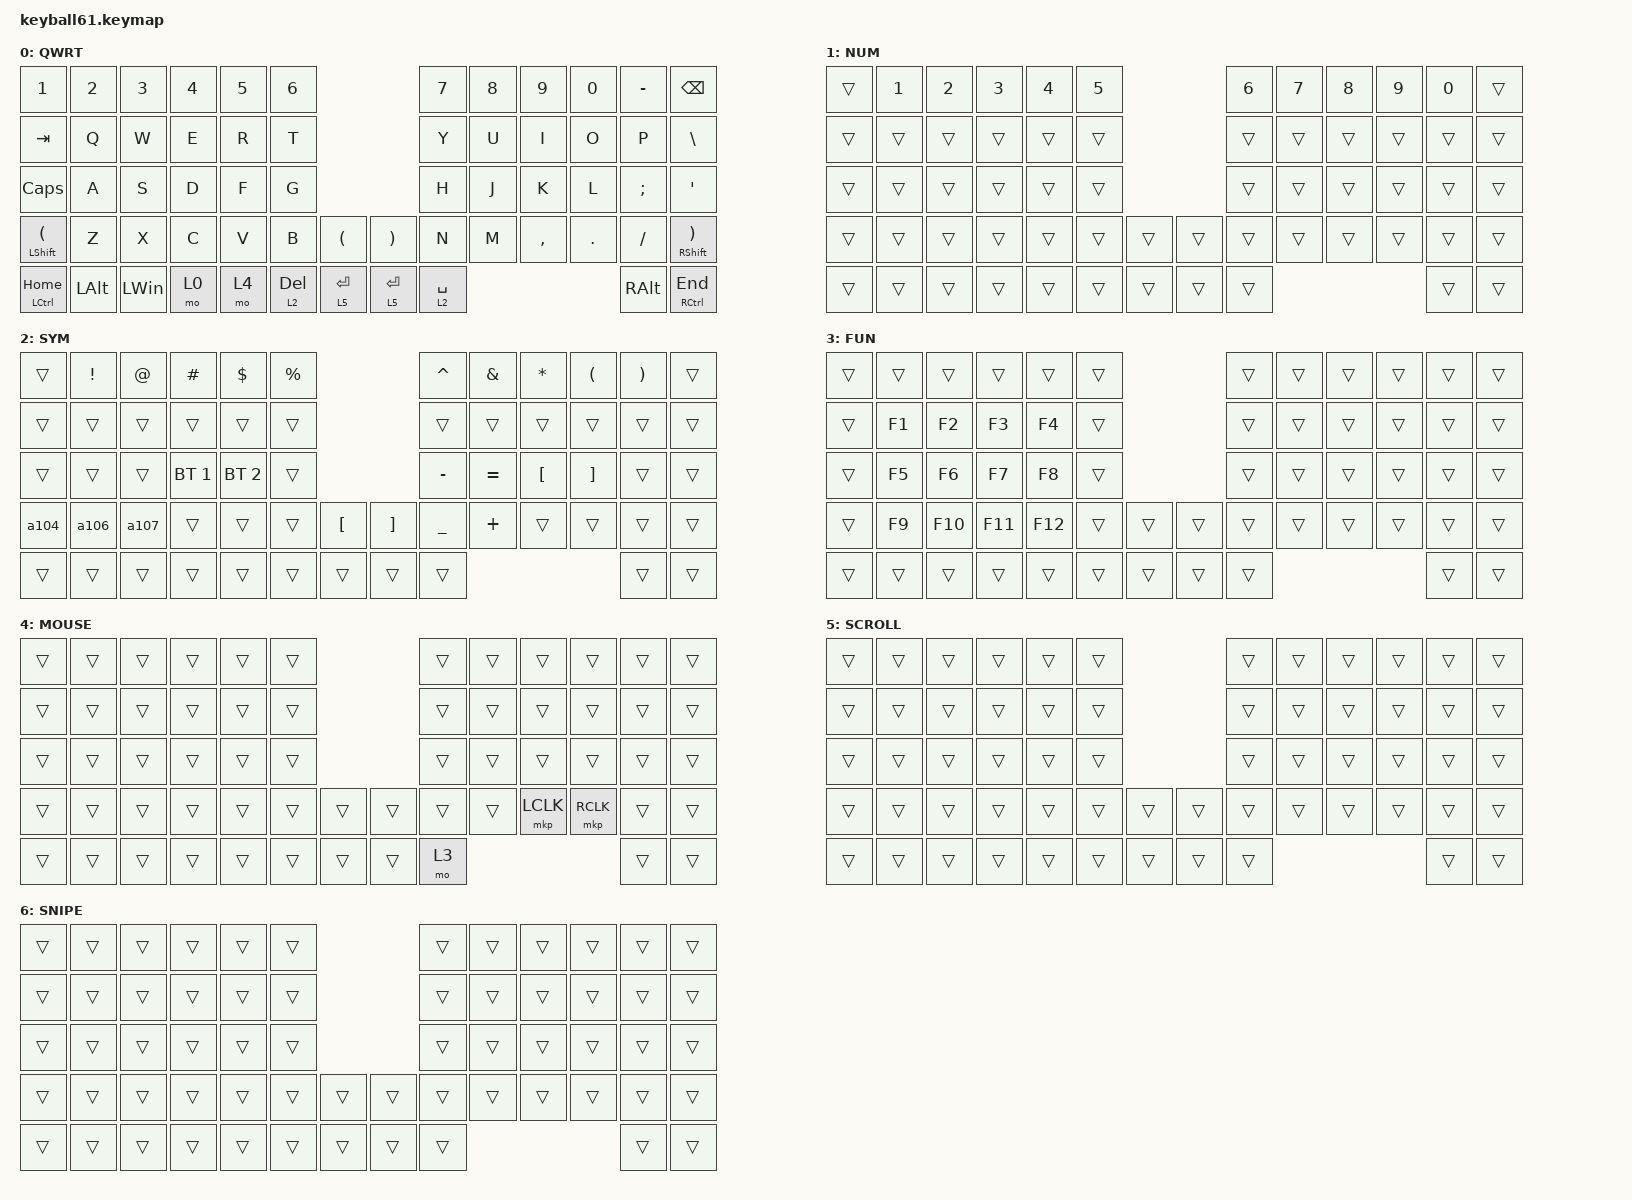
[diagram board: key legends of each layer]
#define DEFAULT 0
#define SYM     1
#define FUN     2
#define MOUSE   3
#define SCROLL  4
#define SNIPE   5

#include <behaviors/mouse_keys.dtsi>
#include <dt-bindings/zmk/mouse.h>
#include <behaviors.dtsi>
#include <dt-bindings/zmk/bt.h>
#include <dt-bindings/zmk/keys.h>
#include <dt-bindings/zmk/pointing.h>

&lt {
    tapping-term-ms = <240>;
    flavor = "tap-preferred";
    quick-tap-ms = <150>;
};

&mt {
    tapping-term-ms = <200>;
    flavor = "tap-preferred";
    quick-tap-ms = <150>;
};

/ {
    combos {
        compatible = "zmk,combos";

        Equal {
            bindings = <&kp EQUAL>;
            key-positions = <9 10>;
            layers = <0>;
        };

        Copyc {
            bindings = <&kp K_COPY>;
            key-positions = <32 33>;
        };

        pastec {
            bindings = <&kp K_PASTE>;
            key-positions = <33 34>;
        };
    };

    macros {
        a104: a104 {
            compatible = "zmk,behavior-macro";
            #binding-cells = <0>;
            bindings =
                <&none>,
                <&macro_press>,
                <&kp LS(L) &kp N2 &kp N1 &kp N0 &kp TAB &kp TAB &kp A &kp N1 &kp N0 &kp N4>;

            label = "A104";
        };

        a106: a106 {
            compatible = "zmk,behavior-macro";
            #binding-cells = <0>;
            bindings =
                <&none>,
                <&macro_press>,
                <&kp LS(L) &kp N2 &kp N1 &kp N0 &kp TAB &kp TAB &kp A &kp N1 &kp N0 &kp NUMBER_6>;

            label = "A106";
        };

        a107: a107 {
            compatible = "zmk,behavior-macro";
            #binding-cells = <0>;
            bindings =
                <&none>,
                <&macro_press>,
                <&kp LS(L) &kp N2 &kp N1 &kp N0 &kp TAB &kp TAB &kp A &kp N1 &kp N0 &kp N7>;

            label = "A107";
        };
    };

    keymap {
        compatible = "zmk,keymap";

        default_layer {
            label = "QWRT";
            bindings = <
&kp NUMBER_1                     &kp NUMBER_2  &kp NUMBER_3  &kp NUMBER_4  &kp N5  &kp NUMBER_6                                               &kp N7       &kp N8  &kp N9     &kp N0   &kp MINUS      &kp BSPC
&kp TAB                          &kp Q         &kp W         &kp E         &kp R   &kp T                                                      &kp Y        &kp U   &kp I      &kp O    &kp P          &kp BACKSLASH
&kp CAPS                         &kp A         &kp S         &kp D         &kp F   &kp G                                                      &kp H        &kp J   &kp K      &kp L    &kp SEMI       &kp SQT
&mt LEFT_SHIFT LEFT_PARENTHESIS  &kp Z         &kp X         &kp C         &kp V   &kp B         &kp LEFT_PARENTHESIS  &kp RIGHT_PARENTHESIS  &kp N        &kp M   &kp COMMA  &kp DOT  &kp FSLH       &mt RIGHT_SHIFT RIGHT_PARENTHESIS
&mt LCTRL HOME                   &kp LEFT_ALT  &kp LEFT_WIN  &mo 0         &mo 4   &lt 2 DEL     &lt 5 ENTER           &lt 5 ENTER            &lt 2 SPACE                              &kp RIGHT_ALT  &mt RCTRL END
            >;
        };

        number_layer {
            bindings = <
&trans  &kp N1  &kp N2  &kp N3  &kp N4  &kp N5                  &kp N6  &kp N7  &kp N8  &kp N9  &kp N0  &trans
&trans  &trans  &trans  &trans  &trans  &trans                  &trans  &trans  &trans  &trans  &trans  &trans
&trans  &trans  &trans  &trans  &trans  &trans                  &trans  &trans  &trans  &trans  &trans  &trans
&trans  &trans  &trans  &trans  &trans  &trans  &trans  &trans  &trans  &trans  &trans  &trans  &trans  &trans
&trans  &trans  &trans  &trans  &trans  &trans  &trans  &trans  &trans                          &trans  &trans
            >;

            label = "NUM";
        };

        symbol_layer {
            label = "SYM";
            bindings = <
&trans  &kp EXCLAMATION  &kp AT_SIGN  &kp HASH      &kp DOLLAR    &kp PERCENT                                       &kp CARET       &kp AMPERSAND  &kp ASTERISK      &kp LEFT_PARENTHESIS  &kp RIGHT_PARENTHESIS  &trans
&trans  &trans           &trans       &trans        &trans        &trans                                            &trans          &trans         &trans            &trans                &trans                 &trans
&trans  &trans           &trans       &bt BT_SEL 1  &bt BT_SEL 2  &trans                                            &kp MINUS       &kp EQUAL      &kp LEFT_BRACKET  &kp RIGHT_BRACKET     &trans                 &trans
&a104   &a106            &a107        &trans        &trans        &trans       &kp LEFT_BRACKET  &kp RIGHT_BRACKET  &kp UNDERSCORE  &kp PLUS       &trans            &trans                &trans                 &trans
&trans  &trans           &trans       &trans        &trans        &trans       &trans            &trans             &trans                                                                 &trans                 &trans
            >;
        };

        function_layer {
            label = "FUN";
            bindings = <
&trans  &trans  &trans   &trans   &trans   &trans                  &trans  &trans  &trans  &trans  &trans  &trans
&trans  &kp F1  &kp F2   &kp F3   &kp F4   &trans                  &trans  &trans  &trans  &trans  &trans  &trans
&trans  &kp F5  &kp F6   &kp F7   &kp F8   &trans                  &trans  &trans  &trans  &trans  &trans  &trans
&trans  &kp F9  &kp F10  &kp F11  &kp F12  &trans  &trans  &trans  &trans  &trans  &trans  &trans  &trans  &trans
&trans  &trans  &trans   &trans   &trans   &trans  &trans  &trans  &trans                          &trans  &trans
            >;
        };

        mouse_layer {
            label = "MOUSE";
            bindings = <
&trans  &trans  &trans  &trans  &trans  &trans                  &trans  &trans  &trans     &trans     &trans  &trans
&trans  &trans  &trans  &trans  &trans  &trans                  &trans  &trans  &trans     &trans     &trans  &trans
&trans  &trans  &trans  &trans  &trans  &trans                  &trans  &trans  &trans     &trans     &trans  &trans
&trans  &trans  &trans  &trans  &trans  &trans  &trans  &trans  &trans  &trans  &mkp LCLK  &mkp RCLK  &trans  &trans
&trans  &trans  &trans  &trans  &trans  &trans  &trans  &trans  &mo 3                                 &trans  &trans
            >;
        };

        scroll_layer {
            label = "SCROLL";
            bindings = <
&trans  &trans  &trans  &trans  &trans  &trans                  &trans  &trans  &trans  &trans  &trans  &trans
&trans  &trans  &trans  &trans  &trans  &trans                  &trans  &trans  &trans  &trans  &trans  &trans
&trans  &trans  &trans  &trans  &trans  &trans                  &trans  &trans  &trans  &trans  &trans  &trans
&trans  &trans  &trans  &trans  &trans  &trans  &trans  &trans  &trans  &trans  &trans  &trans  &trans  &trans
&trans  &trans  &trans  &trans  &trans  &trans  &trans  &trans  &trans                          &trans  &trans
            >;
        };

        snipe_layer {
            label = "SNIPE";
            bindings = <
&trans  &trans  &trans  &trans  &trans  &trans                  &trans  &trans  &trans  &trans  &trans  &trans
&trans  &trans  &trans  &trans  &trans  &trans                  &trans  &trans  &trans  &trans  &trans  &trans
&trans  &trans  &trans  &trans  &trans  &trans                  &trans  &trans  &trans  &trans  &trans  &trans
&trans  &trans  &trans  &trans  &trans  &trans  &trans  &trans  &trans  &trans  &trans  &trans  &trans  &trans
&trans  &trans  &trans  &trans  &trans  &trans  &trans  &trans  &trans                          &trans  &trans
            >;
        };
    };
};
